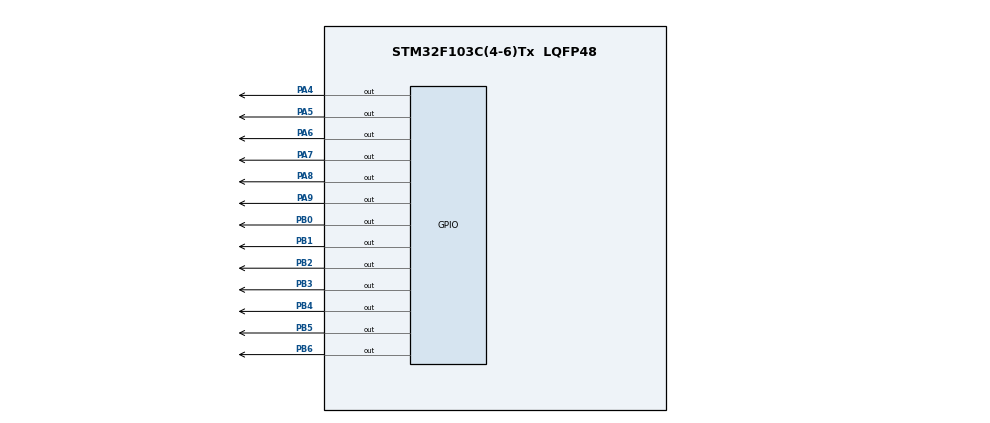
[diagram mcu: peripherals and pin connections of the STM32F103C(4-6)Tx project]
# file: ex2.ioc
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Mcu.Family=STM32F1
Mcu.Name=STM32F103C(4-6)Tx
Mcu.Package=LQFP48
NVIC.PriorityGroup=NVIC_PRIORITYGROUP_4
NVIC.TIM2_IRQn=true\:0\:0\:false\:false\:true\:true\:true
PA4.Signal=GPIO_Output
PA5.Signal=GPIO_Output
PA6.Signal=GPIO_Output
PA7.Signal=GPIO_Output
PA8.Signal=GPIO_Output
PA9.Signal=GPIO_Output
PB0.Signal=GPIO_Output
PB1.Signal=GPIO_Output
PB2.Signal=GPIO_Output
PB3.Signal=GPIO_Output
PB4.Signal=GPIO_Output
PB5.Signal=GPIO_Output
PB6.Signal=GPIO_Output
PD0-OSC_IN.Mode=HSE-External-Oscillator
PD0-OSC_IN.Signal=RCC_OSC_IN
PD1-OSC_OUT.Mode=HSE-External-Oscillator
PD1-OSC_OUT.Signal=RCC_OSC_OUT
ProjectManager.HeapSize=0x200
ProjectManager.StackSize=0x400
ProjectManager.TargetToolchain=STM32CubeIDE
RCC.APB1Freq_Value=8000000
RCC.APB2Freq_Value=8000000
TIM2.Period=9
TIM2.Prescaler=7999
VP_SYS_VS_ND.Mode=No_Debug
VP_TIM2_VS_ClockSourceINT.Mode=Internal
board=custom

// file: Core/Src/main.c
/* USER CODE BEGIN Header */
/**
  ******************************************************************************
  * @file           : main.c
  * @brief          : Main program body
  ******************************************************************************
  * @attention
  *
  * <h2><center>&copy; Copyright (c) 2021 STMicroelectronics.
  * All rights reserved.</center></h2>
  *
  * This software component is licensed by ST under BSD 3-Clause license,
  * the "License"; You may not use this file except in compliance with the
  * License. You may obtain a copy of the License at:
  *                        opensource.org/licenses/BSD-3-Clause
  *
  ******************************************************************************
  */
/* USER CODE END Header */
#include "main.h"

TIM_HandleTypeDef htim2;

void SystemClock_Config(void);
static void MX_GPIO_Init(void);
static void MX_TIM2_Init(void);
/* USER CODE BEGIN PFP */
void display7SEG(int num) {
	HAL_GPIO_WritePin(GPIOB, GPIO_PIN_0|GPIO_PIN_1|GPIO_PIN_2|GPIO_PIN_3|GPIO_PIN_4|GPIO_PIN_5|GPIO_PIN_6, GPIO_PIN_SET);
	switch (num) {
		case 0:
			HAL_GPIO_WritePin(GPIOB, GPIO_PIN_0|GPIO_PIN_1|GPIO_PIN_2|GPIO_PIN_3|GPIO_PIN_4|GPIO_PIN_5, GPIO_PIN_RESET);
			break;
		case 1:
			HAL_GPIO_WritePin(GPIOB, GPIO_PIN_1|GPIO_PIN_2, GPIO_PIN_RESET);
			break;
		case 2:
			HAL_GPIO_WritePin(GPIOB, GPIO_PIN_0|GPIO_PIN_1|GPIO_PIN_3|GPIO_PIN_4|GPIO_PIN_6, GPIO_PIN_RESET);
			break;
		case 3:
			HAL_GPIO_WritePin(GPIOB, GPIO_PIN_0|GPIO_PIN_1|GPIO_PIN_2|GPIO_PIN_3|GPIO_PIN_6, GPIO_PIN_RESET);
			break;
		case 4:
			HAL_GPIO_WritePin(GPIOB, GPIO_PIN_1|GPIO_PIN_2|GPIO_PIN_5|GPIO_PIN_6, GPIO_PIN_RESET);
			break;
		case 5:
			HAL_GPIO_WritePin(GPIOB, GPIO_PIN_0|GPIO_PIN_2|GPIO_PIN_3|GPIO_PIN_5|GPIO_PIN_6, GPIO_PIN_RESET);
			break;
		case 6:
			HAL_GPIO_WritePin(GPIOB, GPIO_PIN_0|GPIO_PIN_2|GPIO_PIN_3|GPIO_PIN_4|GPIO_PIN_5|GPIO_PIN_6, GPIO_PIN_RESET);
			break;
		case 7:
			HAL_GPIO_WritePin(GPIOB, GPIO_PIN_0|GPIO_PIN_1|GPIO_PIN_2, GPIO_PIN_RESET);
			break;
		case 8:
			HAL_GPIO_WritePin(GPIOB, GPIO_PIN_0|GPIO_PIN_1|GPIO_PIN_2|GPIO_PIN_3|GPIO_PIN_4|GPIO_PIN_5|GPIO_PIN_6, GPIO_PIN_RESET);
			break;
		case 9:
			HAL_GPIO_WritePin(GPIOB, GPIO_PIN_0|GPIO_PIN_1|GPIO_PIN_2|GPIO_PIN_3|GPIO_PIN_5|GPIO_PIN_6, GPIO_PIN_RESET);
			break;
		default:
			break;
	}
}
int  counter = 200;

void HAL_TIM_PeriodElapsedCallback(TIM_HandleTypeDef *htim) {
	counter--;
	if (counter <=200  && counter >150) {
		HAL_GPIO_TogglePin ( GPIOA , GPIO_PIN_4 ) ; //nhap nhay den
		HAL_GPIO_TogglePin ( GPIOA , GPIO_PIN_5 ) ; //nhap nhay den
		display7SEG(1);
		HAL_GPIO_WritePin(GPIOA, GPIO_PIN_7|GPIO_PIN_8|GPIO_PIN_9, GPIO_PIN_SET);
		HAL_GPIO_WritePin ( GPIOA , GPIO_PIN_6, RESET ) ; //led 1
	}
	if (counter <151 && counter >100) {
		HAL_GPIO_TogglePin ( GPIOA , GPIO_PIN_4 ) ;
		HAL_GPIO_TogglePin ( GPIOA , GPIO_PIN_5 ) ;
		display7SEG(2);
		HAL_GPIO_WritePin(GPIOA, GPIO_PIN_6|GPIO_PIN_8|GPIO_PIN_9, GPIO_PIN_SET);
		HAL_GPIO_WritePin ( GPIOA , GPIO_PIN_7, RESET ) ; // led 3
	}
	if (counter <101 && counter >50) {
		HAL_GPIO_TogglePin ( GPIOA , GPIO_PIN_4 ) ;
		HAL_GPIO_TogglePin ( GPIOA , GPIO_PIN_5 ) ;
		display7SEG(3);
		HAL_GPIO_WritePin(GPIOA, GPIO_PIN_6|GPIO_PIN_7|GPIO_PIN_9, GPIO_PIN_SET);
		HAL_GPIO_WritePin ( GPIOA , GPIO_PIN_8, RESET ) ; //led 4
	}
	if (counter < 51 && counter >0) {
		HAL_GPIO_TogglePin ( GPIOA , GPIO_PIN_4 ) ;
		HAL_GPIO_TogglePin ( GPIOA , GPIO_PIN_5 ) ;
		display7SEG(0);
		HAL_GPIO_WritePin(GPIOA, GPIO_PIN_6|GPIO_PIN_7|GPIO_PIN_8, GPIO_PIN_SET);
		HAL_GPIO_WritePin ( GPIOA , GPIO_PIN_9, RESET ) ;
	}
	if (counter ==0) counter=200;
}

/* USER CODE END PFP */

int main(void)
{

  /* MCU Configuration--------------------------------------------------------*/

  /* Reset of all peripherals, Initializes the Flash interface and the Systick. */
  HAL_Init();

  /* Configure the system clock */
  SystemClock_Config();

  /* Initialize all configured peripherals */
  MX_GPIO_Init();
  MX_TIM2_Init();
  /* USER CODE BEGIN 2 */
  HAL_TIM_Base_Start_IT(&htim2);
  /* USER CODE END 2 */

	HAL_GPIO_WritePin(GPIOA, GPIO_PIN_6|GPIO_PIN_7|GPIO_PIN_8|GPIO_PIN_9, GPIO_PIN_SET);
  /* Infinite loop */
  while (1)
  {

  }
}

void SystemClock_Config(void)
{
  RCC_OscInitTypeDef RCC_OscInitStruct = {0};
  RCC_ClkInitTypeDef RCC_ClkInitStruct = {0};

  /** Initializes the RCC Oscillators according to the specified parameters
  * in the RCC_OscInitTypeDef structure.
  */
  RCC_OscInitStruct.OscillatorType = RCC_OSCILLATORTYPE_HSI;
  RCC_OscInitStruct.HSIState = RCC_HSI_ON;
  RCC_OscInitStruct.HSICalibrationValue = RCC_HSICALIBRATION_DEFAULT;
  RCC_OscInitStruct.PLL.PLLState = RCC_PLL_NONE;
  if (HAL_RCC_OscConfig(&RCC_OscInitStruct) != HAL_OK)
  {
    Error_Handler();
  }
  /** Initializes the CPU, AHB and APB buses clocks
  */
  RCC_ClkInitStruct.ClockType = RCC_CLOCKTYPE_HCLK|RCC_CLOCKTYPE_SYSCLK
                              |RCC_CLOCKTYPE_PCLK1|RCC_CLOCKTYPE_PCLK2;
  RCC_ClkInitStruct.SYSCLKSource = RCC_SYSCLKSOURCE_HSI;
  RCC_ClkInitStruct.AHBCLKDivider = RCC_SYSCLK_DIV1;
  RCC_ClkInitStruct.APB1CLKDivider = RCC_HCLK_DIV1;
  RCC_ClkInitStruct.APB2CLKDivider = RCC_HCLK_DIV1;

  if (HAL_RCC_ClockConfig(&RCC_ClkInitStruct, FLASH_LATENCY_0) != HAL_OK)
  {
    Error_Handler();
  }
}

static void MX_TIM2_Init(void)
{

  TIM_ClockConfigTypeDef sClockSourceConfig = {0};
  TIM_MasterConfigTypeDef sMasterConfig = {0};

  htim2.Instance = TIM2;
  htim2.Init.Prescaler = 7999;
  htim2.Init.CounterMode = TIM_COUNTERMODE_UP;
  htim2.Init.Period = 9;
  htim2.Init.ClockDivision = TIM_CLOCKDIVISION_DIV1;
  htim2.Init.AutoReloadPreload = TIM_AUTORELOAD_PRELOAD_DISABLE;
  if (HAL_TIM_Base_Init(&htim2) != HAL_OK)
  {
    Error_Handler();
  }
  sClockSourceConfig.ClockSource = TIM_CLOCKSOURCE_INTERNAL;
  if (HAL_TIM_ConfigClockSource(&htim2, &sClockSourceConfig) != HAL_OK)
  {
    Error_Handler();
  }
  sMasterConfig.MasterOutputTrigger = TIM_TRGO_RESET;
  sMasterConfig.MasterSlaveMode = TIM_MASTERSLAVEMODE_DISABLE;
  if (HAL_TIMEx_MasterConfigSynchronization(&htim2, &sMasterConfig) != HAL_OK)
  {
    Error_Handler();
  }

}

static void MX_GPIO_Init(void)
{
  GPIO_InitTypeDef GPIO_InitStruct = {0};

  /* GPIO Ports Clock Enable */
  __HAL_RCC_GPIOD_CLK_ENABLE();
  __HAL_RCC_GPIOA_CLK_ENABLE();
  __HAL_RCC_GPIOB_CLK_ENABLE();

  /*Configure GPIO pin Output Level */
  HAL_GPIO_WritePin(GPIOA, GPIO_PIN_4|GPIO_PIN_5|GPIO_PIN_6|GPIO_PIN_7
                          |GPIO_PIN_8|GPIO_PIN_9, GPIO_PIN_RESET);

  /*Configure GPIO pin Output Level */
  HAL_GPIO_WritePin(GPIOB, GPIO_PIN_0|GPIO_PIN_1|GPIO_PIN_2|GPIO_PIN_3
                          |GPIO_PIN_4|GPIO_PIN_5|GPIO_PIN_6, GPIO_PIN_RESET);

  /*Configure GPIO pins : PA4 PA5 PA6 PA7
                           PA8 PA9 */
  GPIO_InitStruct.Pin = GPIO_PIN_4|GPIO_PIN_5|GPIO_PIN_6|GPIO_PIN_7
                          |GPIO_PIN_8|GPIO_PIN_9;
  GPIO_InitStruct.Mode = GPIO_MODE_OUTPUT_PP;
  GPIO_InitStruct.Pull = GPIO_NOPULL;
  GPIO_InitStruct.Speed = GPIO_SPEED_FREQ_LOW;
  HAL_GPIO_Init(GPIOA, &GPIO_InitStruct);

  /*Configure GPIO pins : PB0 PB1 PB2 PB3
                           PB4 PB5 PB6 */
  GPIO_InitStruct.Pin = GPIO_PIN_0|GPIO_PIN_1|GPIO_PIN_2|GPIO_PIN_3
                          |GPIO_PIN_4|GPIO_PIN_5|GPIO_PIN_6;
  GPIO_InitStruct.Mode = GPIO_MODE_OUTPUT_PP;
  GPIO_InitStruct.Pull = GPIO_NOPULL;
  GPIO_InitStruct.Speed = GPIO_SPEED_FREQ_LOW;
  HAL_GPIO_Init(GPIOB, &GPIO_InitStruct);

}

void Error_Handler(void)
{
  __disable_irq();
  while (1)
  {
  }
}

/************************ (C) COPYRIGHT STMicroelectronics *****END OF FILE****/
